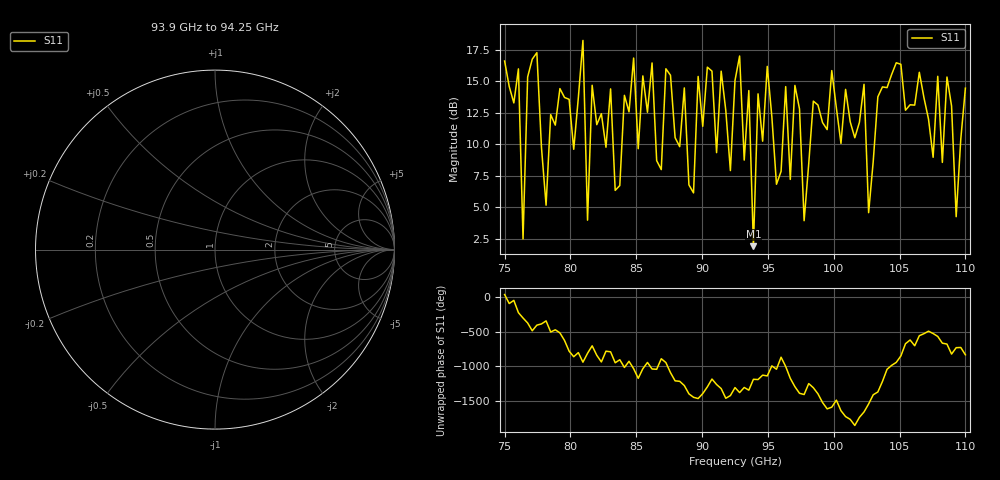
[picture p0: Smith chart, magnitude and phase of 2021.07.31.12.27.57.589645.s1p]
!Created with skrf (http://scikit-rf.org).
# GHz S RI R 50.0
!freq ReS11 ImS11
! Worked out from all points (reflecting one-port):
!   101 points, 75 GHz to 110 GHz, reference 50 ohm
!   lowest |S11| = 1.9 dB at 93.9 GHz (marker M1)
!   phase of S11 starts at 36 deg and turns -873 deg over the sweep
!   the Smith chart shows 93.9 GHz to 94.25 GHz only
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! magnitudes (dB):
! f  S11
! 75 GHz  16.6
! 76.05 GHz  16.0
! 76.4 GHz  2.5
! 77.1 GHz  16.8
! 78.15 GHz  5.2
! 79.55 GHz  13.7
! 80.95 GHz  18.2
! 81.3 GHz  4.0
! 81.65 GHz  14.7
! 83.75 GHz  6.7
! 84.8 GHz  16.8
! 88.3 GHz  9.8
! 92.5 GHz  15.1
! 93.55 GHz  14.3
! 93.9 GHz  1.9
! 94.25 GHz  14.0
! 95.65 GHz  6.8
! 97.05 GHz  14.7
! 97.75 GHz  3.9
! 98.45 GHz  13.4
! 101.2 GHz  11.8
! 102.3 GHz  14.8
! 102.7 GHz  4.6
! 103.3 GHz  13.8
! 105.8 GHz  13.1
! 108.6 GHz  15.3
! 109.3 GHz  4.3
! 110 GHz  14.5
